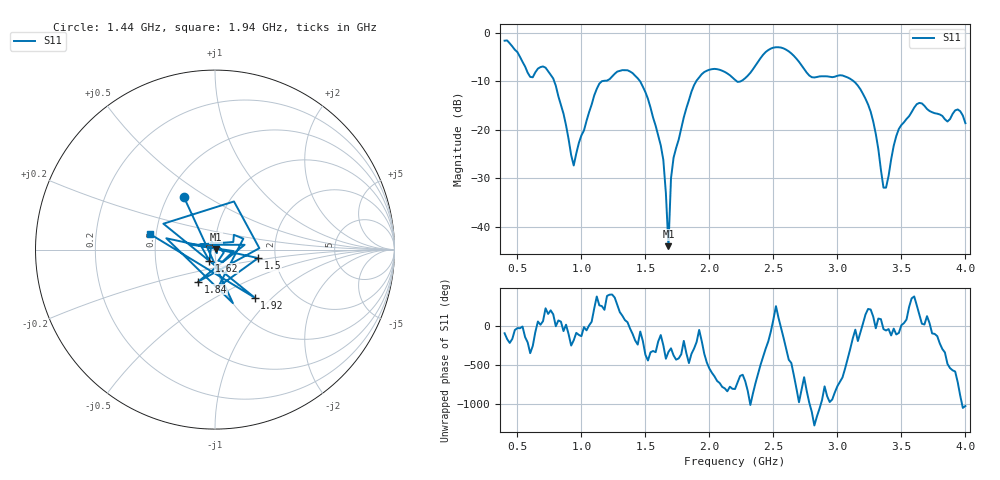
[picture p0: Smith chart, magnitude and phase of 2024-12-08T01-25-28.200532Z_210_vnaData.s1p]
!Created with skrf (http://scikit-rf.org).
# Hz S RI R 50.0
!freq ReS11 ImS11
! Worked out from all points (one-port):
!   181 points, 400 MHz to 4 GHz, reference 50 ohm
!   lowest |S11| = -44.0 dB at 1.68 GHz (marker M1), VSWR 1.01, Z = 50.6 + j0.275 ohm
!   |S11| at or under -10 dB: 787.7 MHz to 1.159 GHz (371.2 MHz wide, 38.1 % of centre); 1.459 GHz to 1.897 GHz (438.4 MHz wide, 26.1 % of centre); 3.128 GHz to end of sweep (the widest 3 of 4)
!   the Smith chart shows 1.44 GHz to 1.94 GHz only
!   S11 on the Smith chart (normalised r, x): 1.44 GHz: 0.61, +0.40; 1.5 GHz: 1.62, -0.16; 1.62 GHz: 0.93, -0.12; 1.84 GHz: 0.78, -0.29; 1.92 GHz: 1.30, -0.79; 1.94 GHz: 0.46, +0.09
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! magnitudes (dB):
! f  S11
! 400 MHz  -1.6
! 600 MHz  -9.1
! 720 MHz  -7.2
! 860 MHz  -16.7
! 940 MHz  -27.3
! 1.12 GHz  -11.6
! 1.3 GHz  -7.8
! 1.44 GHz  -9.4
! 1.5 GHz  -12.2
! 1.62 GHz  -23.2
! 1.66 GHz  -33.1
! 1.68 GHz  -44.0
! 1.7 GHz  -30.0
! 1.76 GHz  -22.0
! 1.84 GHz  -13.9
! 1.92 GHz  -9.2
! 1.94 GHz  -8.5
! 2.2 GHz  -9.7
! 2.48 GHz  -3.3
! 2.66 GHz  -4.8
! 2.8 GHz  -9.2
! 3.1 GHz  -9.5
! 3.26 GHz  -16.3
! 3.36 GHz  -31.9
! 3.46 GHz  -21.3
! 3.56 GHz  -17.2
! 3.64 GHz  -14.5
! 4 GHz  -18.6
